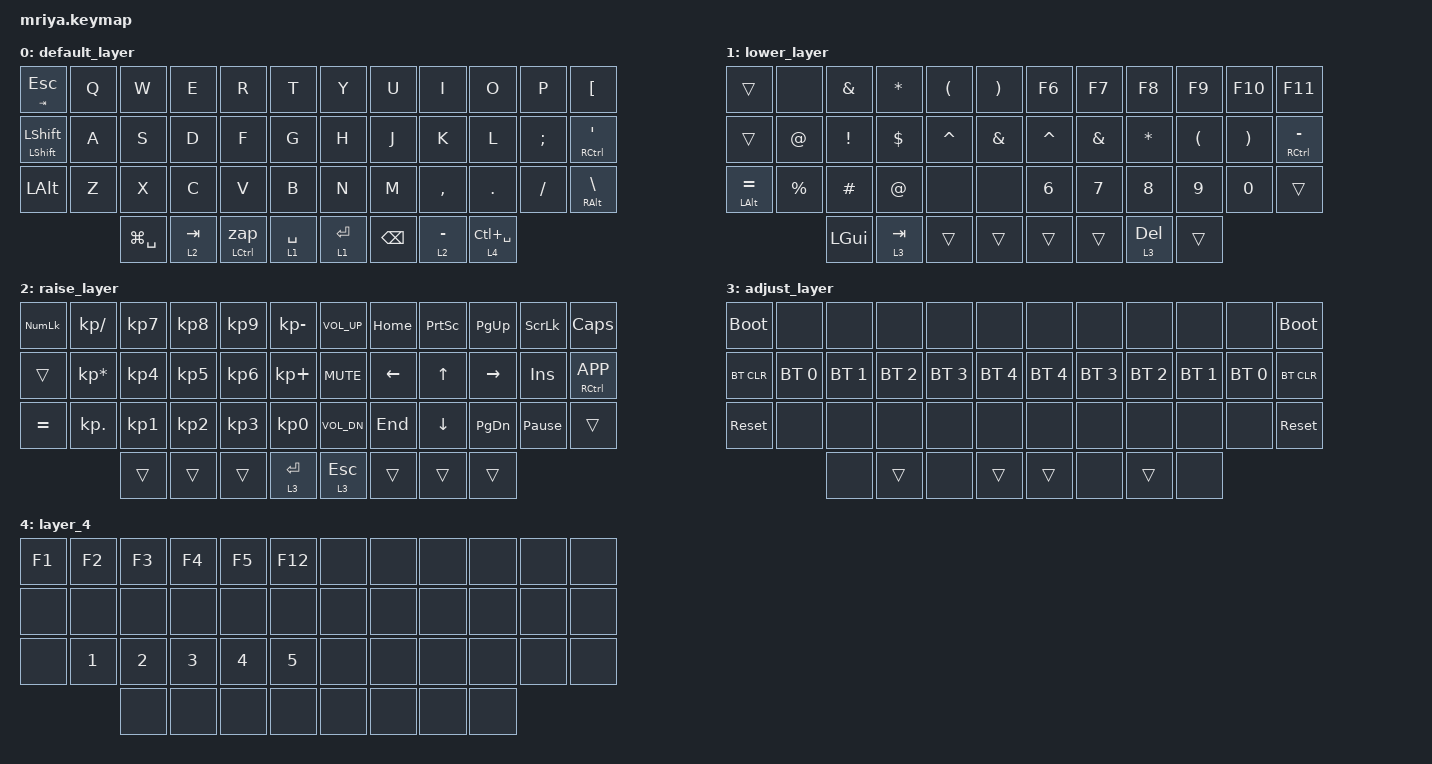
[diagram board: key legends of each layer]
/*
 * Copyright (c) 2023 Andrei Gaevskii
 *
 * SPDX-License-Identifier: MIT
 */

#include <behaviors.dtsi>
#include <dt-bindings/zmk/bt.h>
#include <dt-bindings/zmk/keys.h>

#define DEF 0
#define LWR 1
#define RSE 2
#define ADJ 3

&lt { quick_tap_ms = <200>; };

&mt { quick_tap_ms = <200>; };

&sk {
    release-after-ms = <500>;
    quick-release;
};

/ {
    combos {
        compatible = "zmk,combos";

        rus_h {
            bindings = <&kp LEFT_BRACKET>;
            key-positions = <19 20>;
            timeout-ms = <25>;
            layers = <0>;
        };

        rus_tvd {
            bindings = <&kp RIGHT_BRACKET>;
            key-positions = <31 32>;
            timeout-ms = <25>;
            layers = <0>;
        };

        rus_ee {
            bindings = <&kp SQT>;
            key-positions = <7 8>;
            timeout-ms = <25>;
            layers = <0>;
        };

        tire {
            bindings = <&kp MINUS>;
            key-positions = <3 4>;
            timeout-ms = <25>;
            layers = <0>;
        };

        login {
            bindings = <&login>;
            key-positions = <9 10 11>;
        };

        pvdx {
            bindings = <&pvdx>;
            key-positions = <21 22 23>;
        };

        pvdxx {
            bindings = <&pvdtol>;
            key-positions = <33 34 35>;
        };
    };

    macros {
        zap: zap {
            compatible = "zmk,behavior-macro";
            #binding-cells = <0>;
            bindings = <&kp LS(SLASH) &kp SPACE>;
            label = "ZAP";
        };

        pvdx: pvdx {
            compatible = "zmk,behavior-macro";
            #binding-cells = <0>;
            bindings = <&kp LS(G) &kp H &kp J &kp C &kp N &kp J &kp Q &kp G &kp F &kp H &kp J &kp K &kp M &kp N6 &kp N1 &kp LS(NUMBER_3)>;
            label = "PVDX";
        };

        pvdtol: pvdtol {
            compatible = "zmk,behavior-macro";
            #binding-cells = <0>;
            bindings = <&kp LS(G) &kp H &kp J &kp N3 &kp N1 &kp AT>;
            label = "PVDTOL";
        };

        login: login {
            compatible = "zmk,behavior-macro";
            #binding-cells = <0>;
            bindings = <&kp V &kp T &kp B &kp N7 &kp N0 &kp N1 &kp N5 &kp N3 &kp N0 &kp N4 &kp N7>;
            label = "LOGIN";
        };

        lg: lg {
            compatible = "zmk,behavior-macro";
            #binding-cells = <0>;
            bindings = <&sk LEFT_GUI &kp SPACE>;
            label = "LG";
        };
    };

    behaviors {
        skmod: skmod {
            compatible = "zmk,behavior-hold-tap";
            label = "SKMOD";
            bindings = <&kp>, <&sk>;

            #binding-cells = <2>;
            tapping-term-ms = <200>;
            quick-tap-ms = <200>;
        };

        kp_zap: kp_zap {
            compatible = "zmk,behavior-hold-tap";
            label = "KP_ZAP";
            bindings = <&kp>, <&zap>;

            #binding-cells = <2>;
            tapping-term-ms = <200>;
        };
    };

    keymap {
        compatible = "zmk,keymap";

        default_layer {
            bindings = <
  &mt TAB ESC                   &kp Q  &kp W          &kp E      &kp R                   &kp T          &kp Y        &kp U          &kp I        &kp O            &kp P     &kp LBKT
  &skmod LEFT_SHIFT LEFT_SHIFT  &kp A  &kp S          &kp D      &kp F                   &kp G          &kp H        &kp J          &kp K        &kp L            &kp SEMI  &mt RCTRL SQT
  &kp LALT                      &kp Z  &kp X          &kp C      &kp V                   &kp B          &kp N        &kp M          &kp COMMA    &kp DOT          &kp FSLH  &mt RALT BSLH
                                       &kp LG(SPACE)  &lt 2 TAB  &kp_zap LEFT_CONTROL 0  &lt 1 SPACE    &lt 1 ENTER  &kp BACKSPACE  &lt 2 MINUS  &lt 4 LC(SPACE)
            >;
        };

        lower_layer {
            bindings = <
  &trans          &none        &kp AMPS      &kp ASTERISK  &kp LPAR   &kp RPAR    &kp F6     &kp F7    &kp F8     &kp F9    &kp F10   &kp F11
  &trans          &kp AT_SIGN  &kp EXCL      &kp DLLR      &kp CARET  &kp AMPS    &kp CARET  &kp AMPS  &kp STAR   &kp LPAR  &kp RPAR  &mt RCTRL MINUS
  &mt LALT EQUAL  &kp PERCENT  &kp HASH      &kp AT_SIGN   &none      &none       &kp N6     &kp N7    &kp N8     &kp N9    &kp N0    &trans
                               &kp LEFT_GUI  &lt 3 TAB     &trans     &trans      &trans     &trans    &lt 3 DEL  &trans
            >;
        };

        raise_layer {
            bindings = <
  &kp KP_NUM  &kp KP_SLASH     &kp KP_N7  &kp KP_N8  &kp KP_N9  &kp KP_MINUS    &kp C_VOL_UP  &kp HOME  &kp PSCRN  &kp PG_UP  &kp SLCK         &kp CAPS
  &trans      &kp KP_MULTIPLY  &kp KP_N4  &kp KP_N5  &kp KP_N6  &kp KP_PLUS     &kp C_MUTE    &kp LEFT  &kp UP     &kp RIGHT  &kp INS          &mt RCTRL K_APP
  &kp EQUAL   &kp KP_DOT       &kp KP_N1  &kp KP_N2  &kp KP_N3  &kp KP_N0       &kp C_VOL_DN  &kp END   &kp DOWN   &kp PG_DN  &kp PAUSE_BREAK  &trans
                               &trans     &trans     &trans     &lt 3 RET       &lt 3 ESC     &trans    &trans     &trans
            >;
        };

        adjust_layer {
            bindings = <
  &bootloader  &none         &none         &none         &none         &none           &none         &none         &none         &none         &none         &bootloader
  &bt BT_CLR   &bt BT_SEL 0  &bt BT_SEL 1  &bt BT_SEL 2  &bt BT_SEL 3  &bt BT_SEL 4    &bt BT_SEL 4  &bt BT_SEL 3  &bt BT_SEL 2  &bt BT_SEL 1  &bt BT_SEL 0  &bt BT_CLR
  &sys_reset   &none         &none         &none         &none         &none           &none         &none         &none         &none         &none         &sys_reset
                             &none         &trans        &none         &trans          &trans        &none         &trans        &none
            >;
        };

        layer_4 {
            bindings = <
  &kp F1  &kp F2        &kp F3        &kp F4        &kp F5        &kp F12    &none  &none  &none  &none  &none  &none
  &none   &none         &none         &none         &none         &none      &none  &none  &none  &none  &none  &none
  &none   &kp NUMBER_1  &kp NUMBER_2  &kp NUMBER_3  &kp NUMBER_4  &kp N5     &none  &none  &none  &none  &none  &none
                        &none         &none         &none         &none      &none  &none  &none  &none
            >;
        };
    };
};
